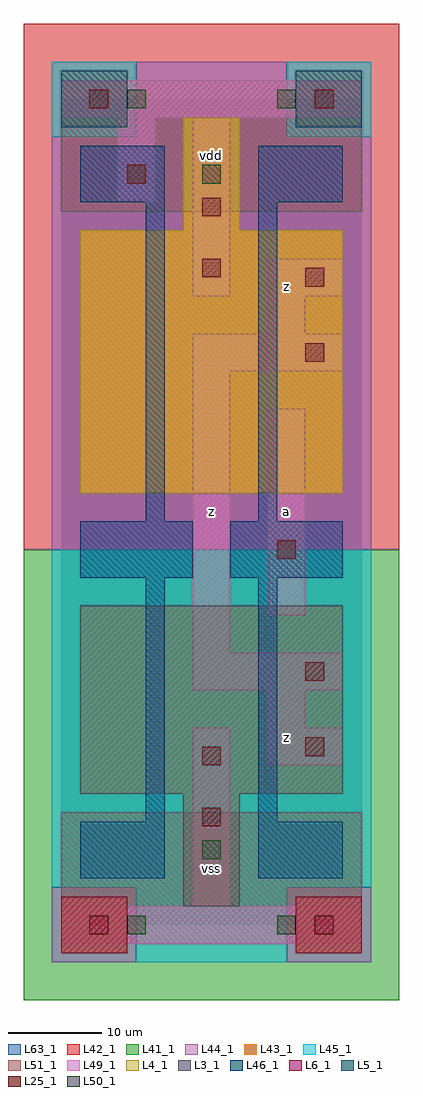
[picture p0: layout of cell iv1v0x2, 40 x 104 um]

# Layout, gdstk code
import gdstk
lib = gdstk.Library(unit=1e-6, precision=1e-09)
def R(c, l, rs):  # rectangles x0, y0, x1, y1
    for r in rs: c.add(gdstk.rectangle(r[:2], r[2:], *l))
L3_1 = (3, 1)
L4_1 = (4, 1)
L5_1 = (5, 1)
L6_1 = (6, 1)
L25_1 = (25, 1)
L41_1 = (41, 1)
L42_1 = (42, 1)
L43_1 = (43, 1)
L44_1 = (44, 1)
L45_1 = (45, 1)
L46_1 = (46, 1)
L49_1 = (49, 1)
L50_1 = (50, 1)
L51_1 = (51, 1)
L63_1 = (63, 1)

iv1v0x2 = lib.new_cell('iv1v0x2')
R(iv1v0x2, L3_1, [(13,2,19,14), (2,14,30,34)])
R(iv1v0x2, L4_1, [(2,46,30,74), (13,74,19,86)])
R(iv1v0x2, L5_1, [(0,85,7,91), (25,85,32,91)])
R(iv1v0x2, L6_1, [(0,-3,7,3), (0,-3,7,3), (25,-3,32,3), (25,-3,32,3)])
R(iv1v0x2, L25_1, [(3,-1,5,1), (27,-1,29,1), (15,10.5,17,12.5), (15,17,17,19), (26,18,28,20), (26,26,28,28), (23,39,25,41), (26,60,28,62), (26,68,28,70), (15,69,17,71), (15,75.5,17,77.5), (7,79,9,81), (3,87,5,89), (27,87,29,89)])
R(iv1v0x2, L41_1, [(-4,-8,36,40)])
R(iv1v0x2, L42_1, [(-4,40,36,96)])
R(iv1v0x2, L43_1, [(0,-3,7,3), (25,-3,32,3), (13,2,19,14), (2,14,30,34), (2,46,30,74), (13,74,19,86), (0,85,7,91), (25,85,32,91)])
R(iv1v0x2, L44_1, [(-1,-4,8,4), (24,-4,33,4), (-1,40,33,84), (8,84,24,92)])
R(iv1v0x2, L45_1, [(8,-4,24,4), (-1,4,33,40), (-1,84,8,92), (24,84,33,92)])
R(iv1v0x2, L46_1, [(2,5,11,11), (21,5,30,11), (9,11,11,37), (21,11,23,37), (2,37,14,43), (18,37,30,43), (9,43,11,77), (21,43,23,77), (2,77,11,83), (21,77,30,83)])
R(iv1v0x2, L49_1, [(0,-2,32,2), (14,2,18,21), (22,17,30,21), (22,21,26,25), (14,25,30,29), (14,29,18,59), (22,33,26,55), (14,59,30,63), (22,63,26,67), (14,67,18,86), (22,67,30,71), (6,77,10,86), (0,86,32,90)])
R(iv1v0x2, L50_1, [(7,-1,9,1), (23,-1,25,1), (15,7,17,9), (15,79,17,81), (7,87,9,89), (23,87,25,89)])
R(iv1v0x2, L51_1, [(0,-2,32,12), (0,76,32,90)])
R(iv1v0x2, L63_1, [(0,0,32,88)])
iv1v0x2.add(gdstk.Label('z', (16,44), layer=49, texttype=1))
iv1v0x2.add(gdstk.Label('z', (24,20), layer=49, texttype=1))
iv1v0x2.add(gdstk.Label('a', (24,44), layer=49, texttype=1))
iv1v0x2.add(gdstk.Label('z', (24,68), layer=49, texttype=1))
iv1v0x2.add(gdstk.Label('vss', (16,6), layer=51, texttype=1))
iv1v0x2.add(gdstk.Label('vdd', (16,82), layer=51, texttype=1))

lib.write_gds('iv1v0x2.gds')
